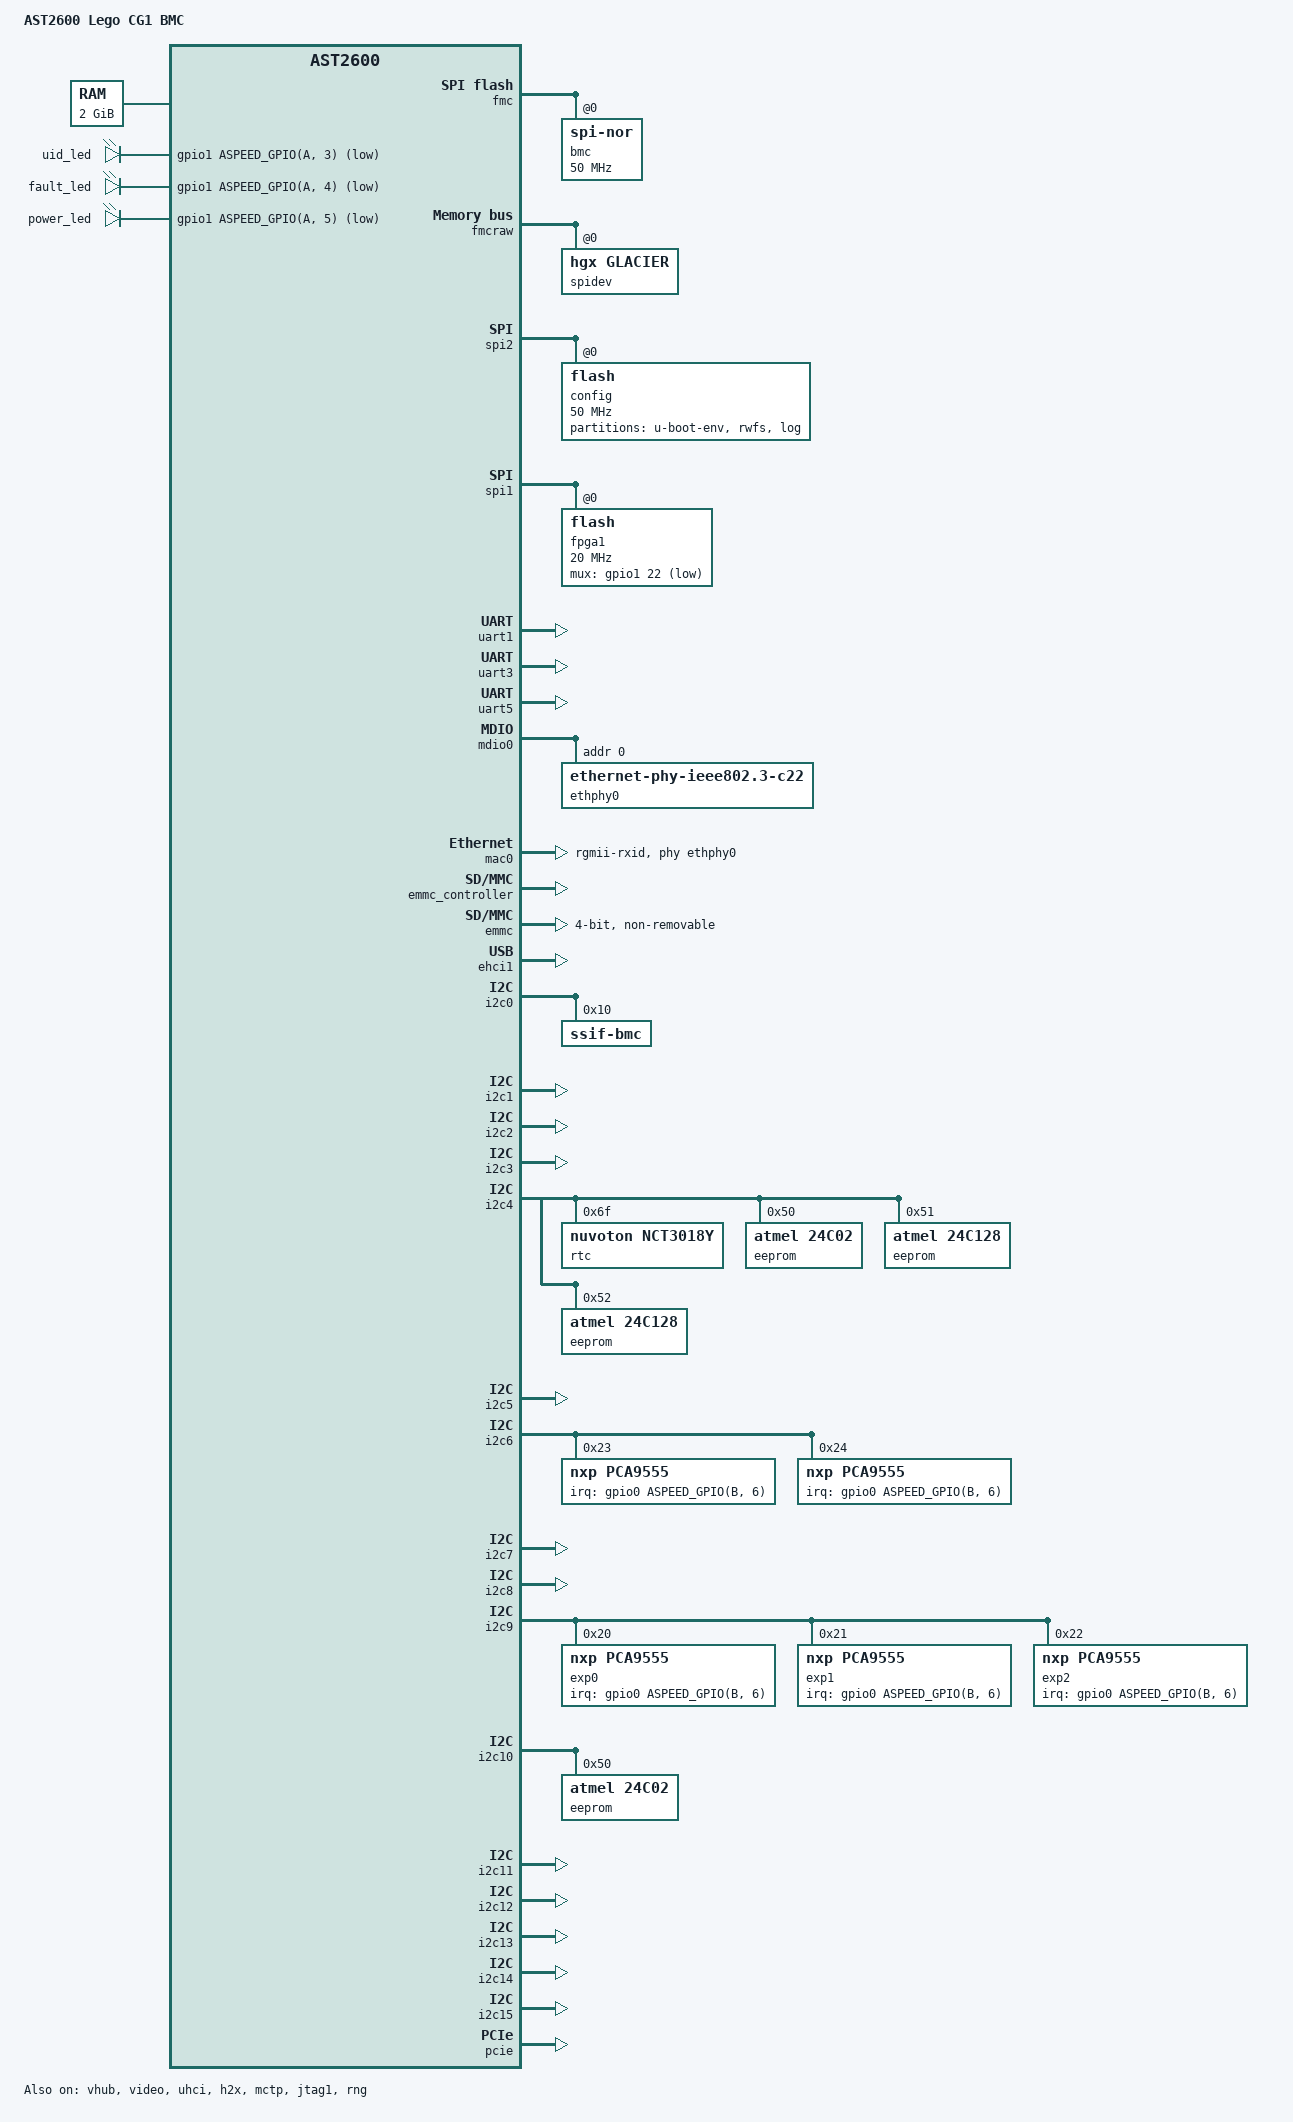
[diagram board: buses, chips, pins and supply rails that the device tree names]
// SPDX-License-Identifier: GPL-2.0+
/dts-v1/;

#include "nvidia-gh-legobmc-core.dtsi"
#include <dt-bindings/leds/common.h>

/ {
    model = "AST2600 Lego CG1 BMC";
    compatible = "aspeed,ast2600";

	aliases {
		serial2 = &uart3;
		serial4 = &uart5;
	};

	chosen {
		stdout-path = &uart5;
		bootargs = "console=tty0 console=ttyS4,115200n8 earlyprintk";
	};

	memory@80000000 {
		device_type = "memory";
		reg = <0x80000000 0x80000000>;
	};

    reserved-memory {
		#address-cells = <1>;
		#size-cells = <1>;
		ranges;

		vga_memory: framebuffer@9f000000 {
			no-map;
			reg = <0x9f000000 0x01000000>; /* 16M */
		};

		ramoops@a0000000 {
			compatible = "ramoops";
			reg = <0xa0000000 0x100000>; /* 1MB */
			record-size = <0x10000>; /* 64KB */
			max-reason = <2>; /* KMSG_DUMP_OOPS */
		};

		gfx_memory: framebuffer {
			size = <0x01000000>;
			alignment = <0x01000000>;
			compatible = "shared-dma-pool";
			reusable;
		};

		video_engine_memory: jpegbuffer {
			size = <0x02000000>;	/* 32M */
			alignment = <0x01000000>;
			compatible = "shared-dma-pool";
			reusable;
		};
	};

    power-gpios{
        n2-gpios = <&gpio0 ASPEED_GPIO(N, 2) (GPIO_ACTIVE_HIGH|GPIO_PULL_UP)>;
        n3-gpios = <&gpio0 ASPEED_GPIO(N, 3) (GPIO_ACTIVE_HIGH|GPIO_PULL_UP)>;
    };

	leds {
                compatible = "gpio-leds";
                uid_led {
                        gpios = <&gpio1 ASPEED_GPIO(A, 3) GPIO_ACTIVE_LOW>;
                };
                fault_led {
                        gpios = <&gpio1 ASPEED_GPIO(A, 4) GPIO_ACTIVE_LOW>;
                };
                power_led {
                        gpios = <&gpio1 ASPEED_GPIO(A, 5) GPIO_ACTIVE_LOW>;
                };
        };
};

// Enabled Primary flash on FMC for bring up activity
&fmc {
    status = "okay";
    flash@0 {
        status = "okay";
        compatible = "jedec,spi-nor";
        label = "bmc";
        spi-max-frequency = <50000000>;
#include "aspeed-bmc-nvidia-gh-flash-layout-64.dtsi"
    };
};

&fmcraw {
    status = "okay";
    spidev@0 {
        compatible = "hgx,glacier";
        status = "okay";
    };
};

&spi2 {
    status = "okay";
    pinctrl-names = "default";
    pinctrl-0 = <&pinctrl_spi2_default>;

    // Data SPI is 64MB in size
    flash@0 {
        status = "okay";
        label = "config";
        spi-max-frequency = <50000000>;
        partitions {
            compatible = "fixed-partitions";
            #address-cells = <1>;
            #size-cells = <1>;

            u-boot-env@0 {
                reg = <0x0 0x40000>;            // 256KB at offset 0
                label = "u-boot-env";
            };

            rwfs@40000 {
                reg = <0x40000 0x1000000>;      // 16MB at offset 0x40000
                label = "rwfs";
            };

            log@0x1040000 {
                reg = <0x1040000 0x2800000>;    // 40MB at offset 0x1040000
                label = "log";                  // Move log to EMMC, make this unused
            };
        };
    };
};

&spi1 {
    status = "okay";
    pinctrl-names = "default";
    pinctrl-0 = <&pinctrl_spi1_default>;

    flash@0 {
        status = "okay";
	    mux-gpio = <&gpio1 22 GPIO_ACTIVE_LOW>;
        label = "fpga1";
        spi-rx-bus-width = <1>;
        spi-max-frequency = <20000000>;
    };
};

&uart1 {
        status = "okay";        
};

&uart3 {
        //Enabling SOL
        status = "okay";
        
};

&uart5 {
    // BMC Debug Console
    status = "okay";
};

// &uart_routing {
//        status = "okay";
// };

// MAC1 (per schematics, 1-based MAC1-MAC4) of AST2600 connected to external PHY
// This is "mac0" in zero-based DTS
&mdio0 {
    status = "okay";
    ethphy0: ethernet-phy@0 {
        compatible = "ethernet-phy-ieee802.3-c22";
        reg = <0>;
    };
};

&mac0 {
    status = "okay";
    pinctrl-names = "default";
    phy-mode = "rgmii-rxid";
    max-speed = <1000>;
    phy-handle = <&ethphy0>;
    pinctrl-0 = <&pinctrl_rgmii1_default>;
};

// Enable emmc
&emmc_controller {
    status = "okay";
};

&emmc {
    non-removable;
    bus-width = <4>;
    max-frequency = <52000000>;
};

/*
 * Enable port A as device (via the virtual hub) and port B as
 * host by default on the eval board. This can be easily changed
 * by replacing the override below with &ehci0 { ... } to enable
 * host on both ports.
 */
&vhub {
    status = "okay";
    pinctrl-names = "default"; 
    pinctrl-0 = <&pinctrl_usb2adp_default>;
};

&video {
	status = "okay";
	memory-region = <&video_engine_memory>;
};



// // USB 2.0 to HMC & Host BMC connectivity
&ehci1 {
   status = "okay";
};

// USB 1.0
&uhci {
   status = "okay";
};

// I2C1, SSIF IPMI interface
&i2c0 {
    status = "okay";
    bus-frequency = <400000>;
	disable-master = <1>;
    ssif-bmc@10 {
        compatible = "ssif-bmc";
        // alert-gpio = <&exp2 2 GPIO_ACTIVE_LOW>;
        // pulse_width_us = <5>;
        timeout_ms = <4995>;
        reg = <0x10>;
        // status = "disabled";
        };
};

// I2C2, BMC_I2C1_FPGA
&i2c1 {
    status = "okay";
    bus-frequency = <400000>;
};

// I2C3, BMC_I2C0_FPGA
&i2c2 {
    status = "okay";
    bus-frequency = <400000>;
};

// I2C4, BMC_I2C0_FPGA
&i2c3 {
    status = "okay";
    bus-frequency = <400000>;
};


//RTC Driver
&i2c4 {
    status = "okay";
    bus-frequency = <400000>;
    rtc@6f {
        compatible = "nuvoton,nct3018y";
        reg = <0x6f>;
        };
    eeprom@50 {
        compatible = "atmel,24c02";
        reg = <0x50>;
        pagesize = <8>;
    };
    eeprom@51 {
        compatible = "atmel,24c128";
        reg = <0x51>;
        pagesize = <8>;
    };
    eeprom@52 {
        compatible = "atmel,24c128";
        reg = <0x52>;
        pagesize = <8>;
    };
};


// I2C6, I2C_BMC_IOM_EXP
&i2c5 {
    status = "okay";
    bus-frequency = <400000>;
    // Moved switch@70 to EM
    // tca9548@70 {
	// 	compatible = "nxp,pca9548";
	// 	pinctrl-names = "default";
	// 	#address-cells = <1>;
	// 	#size-cells = <0>;
	// 	reg = <0x70>;
    // };

};

// I2C7, I2C_BMC_IOM_EXP
&i2c6 {
    status = "okay";
    bus-frequency = <400000>;

    // interrupt-controller;
    // interrupt-parent = <&exp0>;

    pca9555@23 {
 		compatible = "nxp,pca9555";
 		reg = <0x23>;
		gpio-controller;
		#gpio-cells = <2>;

        #address-cells = <1>;
        #size-cells = <0>;
        interrupt-controller;
        #interrupt-cells = <2>;
        interrupt-parent = <&gpio0>;
        interrupts = <ASPEED_GPIO(B, 6) IRQ_TYPE_LEVEL_LOW>;

        gpio-line-names =
            "UPHY0_0_PRSNT_L_N-I",
            "UPHY1_0_PRSNT_L_N-I",
            "UPHY2_0_PRSNT_L_N-I",
            "UPHY3_0_PRSNT_L_N-I",
            "UPHY0_1_PRSNT_N-I",
            "UPHY1_1_PRSNT_N-I",
            "UPHY2_1_PRSNT_N-I",
            "UPHY3_1_PRSNT_N-I",
            "J118_FFU_STRAP-I",
            "J119_FFU_STRAP-I",
            "J127_FFU_STRAP-I",
            "J128_FFU_STRAP-I",
            "J132_FFU_STRAP-I",
            "J133_FFU_STRAP-I",
            "CEC_BOM-I",
            "";
 	};
    pca9555@24 {
 		compatible = "nxp,pca9555";
 		reg = <0x24>;
		gpio-controller;
		#gpio-cells = <2>;

        #address-cells = <1>;
        #size-cells = <0>;
        interrupt-controller;
        #interrupt-cells = <2>;
        interrupt-parent = <&gpio0>;
        interrupts = <ASPEED_GPIO(B, 6) IRQ_TYPE_LEVEL_LOW>;
        
        gpio-line-names = 
            "ID_BTN_BMC_IO_N",
            "SYS_RST_IN_IOEXP_L",
            "IOB_PRSNT_N",
            "M2_RISE_PRSNT_N",
            "UPHY2_0_PRSNT_N",
            "UPHY2_1_PRSNT_N",
            "FAB_ID0",
            "FAB_ID1",
            "PSU0_PRSNT_N",
            "PSU0_PWROK_R",
            "PSU0_VIN_GOOD_R",
            "PSU1_PRSNT_N",
            "PSU1_PWROK_R",
            "PSU1_VIN_GOOD_R",
            "PWRGD_P12V_BRICK2_R",
            "PSU0_PSU1_VIN_R_GOOD";
 	};
};

// I2C8, BMC_I2C_PCI
&i2c7 {
    status = "okay";
    bus-frequency = <400000>;
    // Moved switch@70 to EM
};

// I2C9
&i2c8 {
    status = "okay";
    bus-frequency = <400000>;
};

// I2C10
&i2c9 {
    status = "okay";
    bus-frequency = <400000>;
    exp0: pca9555@20 {
 		compatible = "nxp,pca9555";
 		reg = <0x20>;
		gpio-controller;
		#gpio-cells = <2>;

        #address-cells = <1>;
        #size-cells = <0>;
        interrupt-controller;
        #interrupt-cells = <2>;
        interrupt-parent = <&gpio0>;
        interrupts = <ASPEED_GPIO(B, 6) IRQ_TYPE_LEVEL_LOW>;
        // interrupt-controller;
        // interrupt-parent = <&gpio0>;

        gpio-line-names =
            "BMC_I2C0_FPGA_ALERT_L-I",
            "BMC_I2C1_FPGA_ALERT_L-I",
            "FPGA_READY-I",
            "RUN_POWER_FAULT_L-I",
            "THERM_BB_OVERT_L-I",
            "THERM_BB_WARN_L-I",
            "SYS_RST_OUT_L-I",
            "RUN_POWER_PG-I",
            "SHDN_OK_L-I",
            "PSU_ALERT_N_R-I", //What is this??
            "WAKE_INPUT-I", //What is this??
            "NVLINK0_PRSNT_L-I", //What is this??
            "U211_UPHY0_PRSNT_INT_U208_N-I", //What is this??
            "U211_UPHY1_PRSNT_INT_U209_N-I",//What is this??
            "U211_UPHY2_PRSNT_INT_U78_N-I", //What is this??
            "U211_INT_U80_N-I"; //What is this??
 	};
    exp1: pca9555@21 {
 		compatible = "nxp,pca9555";
 		reg = <0x21>;
		gpio-controller;
		#gpio-cells = <2>;

        #address-cells = <1>;
        #size-cells = <0>;
        interrupt-controller;
        #interrupt-cells = <2>;
        interrupt-parent = <&gpio0>;
        interrupts = <ASPEED_GPIO(B, 6) IRQ_TYPE_LEVEL_LOW>;
               
        gpio-line-names = 
            "SNN_PRSNT_L_FFU-I",
            "M2M_A_ALERT_N_3V3-I",
            "M2M_B_ALERT_N_3V3-I",
            "BUTTON_POWER_ON_IO-I",
            "CPU_BOOT_DONE-I",
            "FPGA_RSVD_FFU2",
            "FPGA_RSVD_FFU3",
            "FPGA_RSVD_FFU4",
            "FPGA_RSVD_FFU5",
            "FPGA_WATCH_DOG_TIMER0_L-I",
            "FPGA_WATCH_DOG_TIMER1_L-I",
            "FPGA_WATCH_DOG_TIMER2_L-I",
            "L0L1_RST_REQ_OUT_L-I",
            "L2_RST_REQ_OUT_L-I",
            "SPI_HOST_TPM_RST_L-I",
            "I2C2_CPU_ALERT_L_3V3_R-I";
 	};
    exp2: pca9555@22 {
 		compatible = "nxp,pca9555";
 		reg = <0x22>;
		gpio-controller;
		#gpio-cells = <2>;

        #address-cells = <1>;
        #size-cells = <0>;
        interrupt-controller;
        #interrupt-cells = <2>;
        interrupt-parent = <&gpio0>;
        interrupts = <ASPEED_GPIO(B, 6) IRQ_TYPE_LEVEL_LOW>;
       
        gpio-line-names =
            "SPI_TPM_INT_L3V3-O",
            "RTC_CLR_R_L-O",
            "BMC_I2C_SSIF_ALERT_L-O",
            "BMC_READY-O",
            "PWR_BRAKE_L-O",
            "RUN_POWER_EN-O",
            "SHDN_FORCE_L-O",
            "SHDN_REQ_L-O",
            "SYS_RST_IN_L-O",
            "JTAG_MUX_SEL-O",
            "FPGA_RSVD_FFU0",
            "PHY_RST_N-O",
            "BUS3_MUX-O",
            "BATTERY_DETECT-O",
            "SNN_I2C_GPIO_RFU6-O",
            "SNN_I2C_GPIO_RFU7-O";
 	};
};

// I2C11
&i2c10 {
    status = "okay";
    bus-frequency = <400000>;
    // BMC FRU EEPROM - 256 bytes
    eeprom@50 {
        compatible = "atmel,24c02";
        reg = <0x50>;
        pagesize = <8>;
    };
};


// I2C12, I2C12_BSDL
&i2c11 {
    status = "okay";
    bus-frequency = <400000>;

//     // P4498 FRU EEPROM - 256 bytes
//     eeprom@50 {
//         compatible = "atmel,24c02";
//         reg = <0x50>;
//         pagesize = <8>;
//     };

//     // enable in entity-manager instead
//     //lm75@48 {
//     //    compatible = "ti,tmp75";
//     //    reg = <0x48>;
//     //};
};

// I2C13
&i2c12 {
    status = "okay";
    bus-frequency = <400000>;
    // i2c-switch@70 {
    //     compatible = "nxp,pca9546";
    //     reg = <0x70>;
    // };
};

// I2C14, BMC_I2C_HDR1
&i2c13 {
    status = "okay";
    bus-frequency = <400000>;
};

// I2C15, BMC_I2C_HDR2
&i2c14 {
    status = "okay";
    bus-frequency = <400000>;
};

// I2C16
&i2c15 {
    status = "okay";
    bus-frequency = <400000>;
    // max31790_1 {
    //     compatible = "maxim,max31790";
    //     reg = <0x20>;
    //     #address-cells = <1>;
    //     #size-cells = <0>;
    // };
    // // GB1 Fan
    // max31790_2 {
    //     compatible = "maxim,max31790";
    //     reg = <0x2f>;
    // };
};

// PCIe RC
&pcie {
    status = "okay";

    interrupts = <GIC_SPI 168 IRQ_TYPE_LEVEL_HIGH>;

    pcie_intc0: legacy-interrupt-controller {
                    interrupts = <GIC_SPI 168 IRQ_TYPE_EDGE_RISING>;
    };
};

// Bridge between AHB bus and PCIe RC.
&h2x {
    status = "okay";
};

&mctp {
    status = "okay";
};

&jtag1 {
    //mux-gpios = <&gpio0 126 (GPIO_ACTIVE_HIGH | GPIO_PULL_UP)>;
    status = "okay";
};

&rng {
    status = "okay";
};


